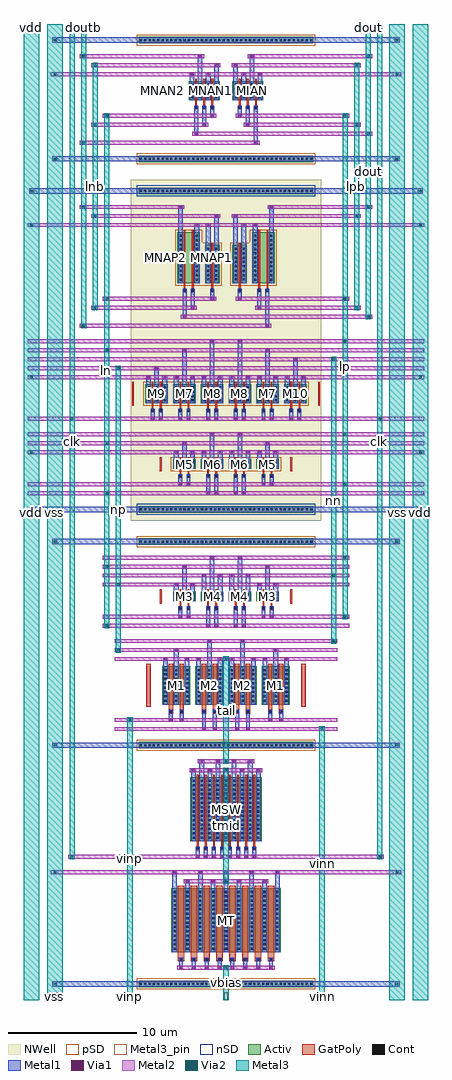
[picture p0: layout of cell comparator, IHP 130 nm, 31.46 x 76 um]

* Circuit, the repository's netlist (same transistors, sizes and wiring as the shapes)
* GENERATED by sim/comparator-pex/make_reference.py from the
* `.subckt comparator` block of design/comparator.spice -- device cards verbatim,
* header pin order changed to klt extract's order (clk dout doutb vbias vdd vinn vinp vss).
.subckt comparator clk dout doutb vbias vdd vinn vinp vss
XMT tmid vbias vss vss sg13_lv_nmos w=40u l=0.5u ng=1 m=1
XMSW tail clk tmid vss sg13_lv_nmos w=40u l=0.13u ng=1 m=1
XM1 np vinp tail vss sg13_lv_nmos w=12u l=0.34u ng=1 m=1
XM2 nn vinn tail vss sg13_lv_nmos w=12u l=0.34u ng=1 m=1
XM3 ln lp np vss sg13_lv_nmos w=3u l=0.13u ng=1 m=1
XM4 lp ln nn vss sg13_lv_nmos w=3u l=0.13u ng=1 m=1
XM5 ln lp vdd vdd sg13_lv_pmos w=3u l=0.13u ng=1 m=1
XM6 lp ln vdd vdd sg13_lv_pmos w=3u l=0.13u ng=1 m=1
XM7 ln clk vdd vdd sg13_lv_pmos w=6u l=0.13u ng=1 m=1
XM8 lp clk vdd vdd sg13_lv_pmos w=6u l=0.13u ng=1 m=1
XM9 np clk vdd vdd sg13_lv_pmos w=3u l=0.13u ng=1 m=1
XM10 nn clk vdd vdd sg13_lv_pmos w=3u l=0.13u ng=1 m=1
XMIAP lnb ln vdd vdd sg13_lv_pmos w=3u l=0.13u ng=1 m=1
XMIAN lnb ln vss vss sg13_lv_nmos w=1.5u l=0.13u ng=1 m=1
XMIBP lpb lp vdd vdd sg13_lv_pmos w=3u l=0.13u ng=1 m=1
XMIBN lpb lp vss vss sg13_lv_nmos w=1.5u l=0.13u ng=1 m=1
XMNAP1 na lnb vdd vdd sg13_lv_pmos w=4u l=0.13u ng=1 m=1
XMNAP2 doutb dout na vdd sg13_lv_pmos w=4u l=0.13u ng=1 m=1
XMNAN1 doutb lnb vss vss sg13_lv_nmos w=1.5u l=0.13u ng=1 m=1
XMNAN2 doutb dout vss vss sg13_lv_nmos w=1.5u l=0.13u ng=1 m=1
XMNBP1 nb lpb vdd vdd sg13_lv_pmos w=4u l=0.13u ng=1 m=1
XMNBP2 dout doutb nb vdd sg13_lv_pmos w=4u l=0.13u ng=1 m=1
XMNBN1 dout lpb vss vss sg13_lv_nmos w=1.5u l=0.13u ng=1 m=1
XMNBN2 dout doutb vss vss sg13_lv_nmos w=1.5u l=0.13u ng=1 m=1
.ends comparator

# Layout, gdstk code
import gdstk
lib = gdstk.Library(unit=1e-6, precision=1e-09)
def R(c, l, rs):  # rectangles x0, y0, x1, y1
    for r in rs: c.add(gdstk.rectangle(r[:2], r[2:], *l))
def A(c, l, x, y, w, h, nx, ny, dx, dy):  # array of equal rectangles
    R(c, l, [(x+i*dx, y+j*dy, x+i*dx+w, y+j*dy+h) for i in range(nx) for j in range(ny)])
Activ = (1, 0)
GatPoly = (5, 0)
Cont = (6, 0)
nSD = (7, 0)
Metal1 = (8, 0)
Metal2 = (10, 0)
pSD = (14, 0)
Via1 = (19, 0)
Via2 = (29, 0)
Metal3 = (30, 0)
Metal3_pin = (30, 2)
NWell = (31, 0)

comparator = lib.new_cell('comparator')
A(comparator, Activ, -4.96, 22, 2.18, 3, 4, 1, 2.58, 0)
A(comparator, Activ, -4.12, 30.05, 1.76, 0.75, 4, 2, 2.16, 10.3)
A(comparator, Activ, -6.28, 45.45, 1.76, 1.5, 6, 1, 2.16, 0)
R(comparator, Activ, [(-6.78,0,6.78,0.5), (-4.25,2.7,4.25,7.7), (-2.77,11.35,2.77,16.35), (-6.78,18.6,6.78,19.1), (-6.78,34.45,6.78,34.95), (-6.78,36.95,6.78,37.45), (-3.79,54.8,-2.03,58.8), (-1.63,54.8,-0.5,57.8), (0.5,54.8,1.63,57.8), (2.03,54.8,3.79,58.8), (-6.78,61.75,6.78,62.25), (-6.78,64.25,6.78,64.75), (-2.89,69.05,-0.5,70.55), (0.5,69.05,2.89,70.55), (-6.78,73.5,6.78,74)])
A(comparator, GatPoly, -3.75, 2, 0.5, 0.3, 8, 1, 1, 0)
A(comparator, GatPoly, -3.75, 2.15, 0.5, 5.73, 8, 1, 1, 0)
A(comparator, GatPoly, -2.355, 10.65, 0.3, 0.3, 8, 1, 0.63, 0)
A(comparator, GatPoly, -2.27, 10.8, 0.13, 5.73, 8, 1, 0.63, 0)
A(comparator, GatPoly, -2.475, 68.35, 0.3, 0.3, 3, 1, 0.63, 0)
A(comparator, GatPoly, 0.915, 68.35, 0.3, 0.3, 3, 1, 0.63, 0)
A(comparator, GatPoly, -2.39, 68.5, 0.13, 2.23, 3, 1, 0.63, 0)
A(comparator, GatPoly, 1, 68.5, 0.13, 2.23, 3, 1, 0.63, 0)
R(comparator, GatPoly, [(-4.46,21.3,-4.12,21.6), (-3.62,21.3,-3.28,21.6), (-1.88,21.3,-1.54,21.6), (-1.04,21.3,-0.7,21.6), (0.7,21.3,1.04,21.6), (1.54,21.3,1.88,21.6), (3.28,21.3,3.62,21.6), (4.12,21.3,4.46,21.6), (-4.46,21.45,-4.12,25.18), (-3.62,21.45,-3.28,25.18), (-1.88,21.45,-1.54,25.18), (-1.04,21.45,-0.7,25.18), (0.7,21.45,1.04,25.18), (1.54,21.45,1.88,25.18), (3.28,21.45,3.62,25.18), (4.12,21.45,4.46,25.18), (-6.2,21.82,-5.86,25.18), (5.86,21.82,6.2,25.18), (-3.705,29.35,-3.405,29.65), (-3.075,29.35,-2.775,29.65), (-1.545,29.35,-1.245,29.65), (-0.915,29.35,-0.615,29.65), (0.615,29.35,0.915,29.65), (1.245,29.35,1.545,29.65), (2.775,29.35,3.075,29.65), (3.405,29.35,3.705,29.65), (-3.62,29.5,-3.49,30.98), (-2.99,29.5,-2.86,30.98), (-1.46,29.5,-1.33,30.98), (-0.83,29.5,-0.7,30.98), (0.7,29.5,0.83,30.98), (1.33,29.5,1.46,30.98), (2.86,29.5,2.99,30.98), (3.49,29.5,3.62,30.98), (-5.15,29.87,-5.02,30.98), (5.02,29.87,5.15,30.98), (-3.705,39.65,-3.405,39.95), (-3.075,39.65,-2.775,39.95), (-1.545,39.65,-1.245,39.95), (-0.915,39.65,-0.615,39.95), (0.615,39.65,0.915,39.95), (1.245,39.65,1.545,39.95), (2.775,39.65,3.075,39.95), (3.405,39.65,3.705,39.95), (-3.62,39.8,-3.49,41.28), (-2.99,39.8,-2.86,41.28), (-1.46,39.8,-1.33,41.28), (-0.83,39.8,-0.7,41.28), (0.7,39.8,0.83,41.28), (1.33,39.8,1.46,41.28), (2.86,39.8,2.99,41.28), (3.49,39.8,3.62,41.28), (-5.15,40.17,-5.02,41.28), (5.02,40.17,5.15,41.28), (-5.865,44.75,-5.565,45.05), (-5.235,44.75,-4.935,45.05), (-3.705,44.75,-3.405,45.05), (-3.075,44.75,-2.775,45.05), (-1.545,44.75,-1.245,45.05), (-0.915,44.75,-0.615,45.05), (0.615,44.75,0.915,45.05), (1.245,44.75,1.545,45.05), (2.775,44.75,3.075,45.05), (3.405,44.75,3.705,45.05), (4.935,44.75,5.235,45.05), (5.565,44.75,5.865,45.05), (-5.78,44.9,-5.65,47.13), (-5.15,44.9,-5.02,47.13), (-3.62,44.9,-3.49,47.13), (-2.99,44.9,-2.86,47.13), (-1.46,44.9,-1.33,47.13), (-0.83,44.9,-0.7,47.13), (0.7,44.9,0.83,47.13), (1.33,44.9,1.46,47.13), (2.86,44.9,2.99,47.13), (3.49,44.9,3.62,47.13), (5.02,44.9,5.15,47.13), (5.65,44.9,5.78,47.13), (-7.31,45.27,-7.18,47.13), (7.18,45.27,7.31,47.13), (-3.375,54.1,-3.075,54.4), (-2.745,54.1,-2.445,54.4), (-1.215,54.1,-0.915,54.4), (0.915,54.1,1.215,54.4), (2.445,54.1,2.745,54.4), (3.075,54.1,3.375,54.4), (-3.29,54.25,-3.16,58.98), (-2.66,54.25,-2.53,58.98), (-1.13,54.25,-1,57.98), (1,54.25,1.13,57.98), (2.53,54.25,2.66,58.98), (3.16,54.25,3.29,58.98)])
A(comparator, Cont, -6.71, 0.17, 0.16, 0.16, 40, 2, 0.34, 18.6)
A(comparator, Cont, -3.58, 2.07, 0.16, 0.16, 8, 1, 1, 0)
A(comparator, Cont, -4.08, 2.91, 0.16, 0.16, 9, 14, 1, 0.34)
A(comparator, Cont, -2.285, 10.72, 0.16, 0.16, 8, 1, 0.63, 0)
A(comparator, Cont, -2.6, 11.56, 0.16, 0.16, 9, 14, 0.63, 0.34)
A(comparator, Cont, -4.79, 22.23, 0.16, 0.16, 3, 8, 0.84, 0.34)
A(comparator, Cont, -2.21, 22.23, 0.16, 0.16, 3, 8, 0.84, 0.34)
A(comparator, Cont, 0.37, 22.23, 0.16, 0.16, 3, 8, 0.84, 0.34)
A(comparator, Cont, 2.95, 22.23, 0.16, 0.16, 3, 8, 0.84, 0.34)
A(comparator, Cont, -3.95, 30.175, 0.16, 0.16, 3, 2, 0.63, 0.34)
A(comparator, Cont, -1.79, 30.175, 0.16, 0.16, 3, 2, 0.63, 0.34)
A(comparator, Cont, 0.37, 30.175, 0.16, 0.16, 3, 2, 0.63, 0.34)
A(comparator, Cont, 2.53, 30.175, 0.16, 0.16, 3, 2, 0.63, 0.34)
A(comparator, Cont, -6.71, 34.62, 0.16, 0.16, 40, 2, 0.34, 2.5)
A(comparator, Cont, -3.95, 40.475, 0.16, 0.16, 3, 2, 0.63, 0.34)
A(comparator, Cont, -1.79, 40.475, 0.16, 0.16, 3, 2, 0.63, 0.34)
A(comparator, Cont, 0.37, 40.475, 0.16, 0.16, 3, 2, 0.63, 0.34)
A(comparator, Cont, 2.53, 40.475, 0.16, 0.16, 3, 2, 0.63, 0.34)
A(comparator, Cont, -6.11, 45.61, 0.16, 0.16, 3, 4, 0.63, 0.34)
A(comparator, Cont, -3.95, 45.61, 0.16, 0.16, 3, 4, 0.63, 0.34)
A(comparator, Cont, -1.79, 45.61, 0.16, 0.16, 3, 4, 0.63, 0.34)
A(comparator, Cont, 0.37, 45.61, 0.16, 0.16, 3, 4, 0.63, 0.34)
A(comparator, Cont, 2.53, 45.61, 0.16, 0.16, 3, 4, 0.63, 0.34)
A(comparator, Cont, 4.69, 45.61, 0.16, 0.16, 3, 4, 0.63, 0.34)
A(comparator, Cont, -3.62, 55.02, 0.16, 0.16, 1, 11, 0, 0.34)
A(comparator, Cont, -2.36, 55.02, 0.16, 0.16, 1, 11, 0, 0.34)
A(comparator, Cont, 2.2, 55.02, 0.16, 0.16, 1, 11, 0, 0.34)
A(comparator, Cont, 3.46, 55.02, 0.16, 0.16, 1, 11, 0, 0.34)
A(comparator, Cont, -1.46, 55.03, 0.16, 0.16, 1, 8, 0, 0.34)
A(comparator, Cont, -0.83, 55.03, 0.16, 0.16, 1, 8, 0, 0.34)
A(comparator, Cont, 0.67, 55.03, 0.16, 0.16, 1, 8, 0, 0.34)
A(comparator, Cont, 1.3, 55.03, 0.16, 0.16, 1, 8, 0, 0.34)
A(comparator, Cont, -6.71, 61.92, 0.16, 0.16, 40, 2, 0.34, 2.5)
A(comparator, Cont, -2.405, 68.42, 0.16, 0.16, 3, 1, 0.63, 0)
A(comparator, Cont, 0.985, 68.42, 0.16, 0.16, 3, 1, 0.63, 0)
A(comparator, Cont, -2.72, 69.21, 0.16, 0.16, 4, 4, 0.63, 0.34)
A(comparator, Cont, 0.67, 69.21, 0.16, 0.16, 4, 4, 0.63, 0.34)
A(comparator, Cont, -6.71, 73.67, 0.16, 0.16, 40, 1, 0.34, 0)
R(comparator, Cont, [(-4.37,21.37,-4.21,21.53), (-3.53,21.37,-3.37,21.53), (-1.79,21.37,-1.63,21.53), (-0.95,21.37,-0.79,21.53), (0.79,21.37,0.95,21.53), (1.63,21.37,1.79,21.53), (3.37,21.37,3.53,21.53), (4.21,21.37,4.37,21.53), (-3.635,29.42,-3.475,29.58), (-3.005,29.42,-2.845,29.58), (-1.475,29.42,-1.315,29.58), (-0.845,29.42,-0.685,29.58), (0.685,29.42,0.845,29.58), (1.315,29.42,1.475,29.58), (2.845,29.42,3.005,29.58), (3.475,29.42,3.635,29.58), (-3.635,39.72,-3.475,39.88), (-3.005,39.72,-2.845,39.88), (-1.475,39.72,-1.315,39.88), (-0.845,39.72,-0.685,39.88), (0.685,39.72,0.845,39.88), (1.315,39.72,1.475,39.88), (2.845,39.72,3.005,39.88), (3.475,39.72,3.635,39.88), (-5.795,44.82,-5.635,44.98), (-5.165,44.82,-5.005,44.98), (-3.635,44.82,-3.475,44.98), (-3.005,44.82,-2.845,44.98), (-1.475,44.82,-1.315,44.98), (-0.845,44.82,-0.685,44.98), (0.685,44.82,0.845,44.98), (1.315,44.82,1.475,44.98), (2.845,44.82,3.005,44.98), (3.475,44.82,3.635,44.98), (5.005,44.82,5.165,44.98), (5.635,44.82,5.795,44.98), (-3.305,54.17,-3.145,54.33), (-2.675,54.17,-2.515,54.33), (-1.145,54.17,-0.985,54.33), (0.985,54.17,1.145,54.33), (2.515,54.17,2.675,54.33), (3.145,54.17,3.305,54.33)])
R(comparator, nSD, [(-6.96,36.77,6.96,37.63), (-6.96,61.57,6.96,62.43)])
A(comparator, Metal1, -3.65, 1.35, 0.3, 0.95, 8, 1, 1, 0)
A(comparator, Metal1, -4.18, 2.7, 0.36, 6.4, 5, 1, 2, 0)
A(comparator, Metal1, -3.18, 2.7, 0.36, 5.7, 4, 1, 2, 0)
A(comparator, Metal1, -2.355, 10, 0.3, 0.95, 8, 1, 0.63, 0)
A(comparator, Metal1, -2.7, 11.35, 0.36, 5.7, 5, 1, 1.26, 0)
A(comparator, Metal1, -2.07, 11.35, 0.36, 6.4, 4, 1, 1.26, 0)
R(comparator, Metal1, [(-13.53,0.05,13.53,0.45), (-13.53,0.05,-13.13,0.45), (13.13,0.05,13.53,0.45), (-13.53,18.65,13.53,19.05), (-13.53,18.65,-13.13,19.05), (13.13,18.65,13.53,19.05), (-1.86,19.95,-1.56,21.6), (-1.02,19.95,-0.72,21.6), (0.72,19.95,1.02,21.6), (1.56,19.95,1.86,21.6), (-4.44,20.65,-4.14,21.6), (-3.6,20.65,-3.3,21.6), (3.3,20.65,3.6,21.6), (4.14,20.65,4.44,21.6), (-4.89,22,-4.53,25.7), (-4.05,22,-3.69,26.4), (-3.21,22,-2.85,25.7), (-2.31,22,-1.95,25.7), (-1.47,22,-1.11,27.1), (-0.63,22,-0.27,25.7), (0.27,22,0.63,25.7), (1.11,22,1.47,27.1), (1.95,22,2.31,25.7), (2.85,22,3.21,25.7), (3.69,22,4.05,26.4), (4.53,22,4.89,25.7), (-1.545,28,-1.245,29.65), (-0.915,28,-0.615,29.65), (0.615,28,0.915,29.65), (1.245,28,1.545,29.65), (-3.705,28.7,-3.405,29.65), (-3.075,28.7,-2.775,29.65), (2.775,28.7,3.075,29.65), (3.405,28.7,3.705,29.65), (-4.05,30.05,-3.69,31.5), (-3.42,30.05,-3.06,32.9), (-2.79,30.05,-2.43,31.5), (-1.89,30.05,-1.53,32.2), (-1.26,30.05,-0.9,33.6), (-0.63,30.05,-0.27,32.2), (0.27,30.05,0.63,32.2), (0.9,30.05,1.26,33.6), (1.53,30.05,1.89,32.2), (2.43,30.05,2.79,31.5), (3.06,30.05,3.42,32.9), (3.69,30.05,4.05,31.5), (-13.53,34.5,13.53,34.9), (-13.53,34.5,-13.13,34.9), (13.13,34.5,13.53,34.9), (-15.33,37,15.33,37.4), (-15.33,37,-14.93,37.4), (14.93,37,15.33,37.4), (-1.545,38.3,-1.245,39.95), (-0.915,38.3,-0.615,39.95), (0.615,38.3,0.915,39.95), (1.245,38.3,1.545,39.95), (-3.705,39,-3.405,39.95), (-3.075,39,-2.775,39.95), (2.775,39,3.075,39.95), (3.405,39,3.705,39.95), (-4.05,40.35,-3.69,41.8), (-3.42,40.35,-3.06,42.5), (-2.79,40.35,-2.43,41.8), (-1.89,40.35,-1.53,41.8), (-1.26,40.35,-0.9,43.2), (-0.63,40.35,-0.27,41.8), (0.27,40.35,0.63,41.8), (0.9,40.35,1.26,43.2), (1.53,40.35,1.89,41.8), (2.43,40.35,2.79,41.8), (3.06,40.35,3.42,42.5), (3.69,40.35,4.05,41.8), (-5.865,44.1,-5.565,45.05), (-5.235,44.1,-4.935,45.05), (-3.705,44.1,-3.405,45.05), (-3.075,44.1,-2.775,45.05), (-1.545,44.1,-1.245,45.05), (-0.915,44.1,-0.615,45.05), (0.615,44.1,0.915,45.05), (1.245,44.1,1.545,45.05), (2.775,44.1,3.075,45.05), (3.405,44.1,3.705,45.05), (4.935,44.1,5.235,45.05), (5.565,44.1,5.865,45.05), (-6.21,45.45,-5.85,47.65), (-5.58,45.45,-5.22,48.35), (-4.95,45.45,-4.59,47.65), (-4.05,45.45,-3.69,47.65), (-3.42,45.45,-3.06,49.75), (-2.79,45.45,-2.43,47.65), (-1.89,45.45,-1.53,47.65), (-1.26,45.45,-0.9,50.45), (-0.63,45.45,-0.27,47.65), (0.27,45.45,0.63,47.65), (0.9,45.45,1.26,50.45), (1.53,45.45,1.89,47.65), (2.43,45.45,2.79,47.65), (3.06,45.45,3.42,49.75), (3.69,45.45,4.05,47.65), (4.59,45.45,4.95,47.65), (5.22,45.45,5.58,49.05), (5.85,45.45,6.21,47.65), (3.075,51.35,3.375,54.4), (-3.375,52.05,-3.075,54.4), (-2.745,52.75,-2.445,54.4), (2.445,52.75,2.745,54.4), (-1.215,53.45,-0.915,54.4), (0.915,53.45,1.215,54.4), (-3.72,54.8,-3.36,60.9), (-2.46,54.8,-2.1,59.5), (-1.56,54.8,-1.2,59.5), (-0.93,54.8,-0.57,60.2), (0.57,54.8,0.93,60.2), (1.2,54.8,1.56,59.5), (2.1,54.8,2.46,59.5), (3.36,54.8,3.72,60.9), (-15.33,61.8,15.33,62.2), (-15.33,61.8,-14.93,62.2), (14.93,61.8,15.33,62.2), (-13.53,64.3,13.53,64.7), (-13.53,64.3,-13.13,64.7), (13.13,64.3,13.53,64.7), (2.175,65.6,2.475,68.65), (-2.475,66.3,-2.175,68.65), (-1.845,67,-1.545,68.65), (1.545,67,1.845,68.65), (-1.215,67.7,-0.915,68.65), (0.915,67.7,1.215,68.65), (-2.82,69.05,-2.46,71.25), (-2.19,69.05,-1.83,72.65), (-1.56,69.05,-1.2,71.25), (-0.93,69.05,-0.57,71.95), (0.57,69.05,0.93,71.95), (1.2,69.05,1.56,71.25), (1.83,69.05,2.19,72.65), (2.46,69.05,2.82,71.25), (-13.53,73.55,13.53,73.95), (-13.53,73.55,-13.13,73.95), (13.13,73.55,13.53,73.95)])
A(comparator, Metal2, -8.68, 25.4, 17.36, 0.3, 1, 3, 0, 0.7)
A(comparator, Metal2, -9.58, 31.2, 19.16, 0.3, 1, 4, 0, 0.7)
A(comparator, Metal2, -15.43, 41.5, 30.86, 0.3, 1, 3, 0, 0.7)
A(comparator, Metal2, -15.43, 47.35, 30.86, 0.3, 1, 5, 0, 0.7)
R(comparator, Metal2, [(-13.53,0.05,-13.13,0.45), (13.13,0.05,13.53,0.45), (-3.8,1.35,3.8,1.65), (-3.3,8.1,3.3,8.4), (-13.63,8.8,13.63,9.1), (-12.28,10,12.28,10.3), (-2.82,16.75,2.82,17.05), (-2.19,17.45,2.19,17.75), (-13.53,18.65,-13.13,19.05), (13.13,18.65,13.53,19.05), (-8.68,19.95,8.68,20.25), (-8.68,20.65,8.68,20.95), (-9.58,28,9.58,28.3), (-9.58,28.7,9.58,29), (-13.53,34.5,-13.13,34.9), (13.13,34.5,13.53,34.9), (-15.33,37,-14.93,37.4), (14.93,37,15.33,37.4), (-15.43,38.3,15.43,38.6), (-15.43,39,15.43,39.3), (-15.43,44.1,15.43,44.4), (-11.38,51.35,3.525,51.65), (-3.525,52.05,11.38,52.35), (-10.48,52.75,-2.295,53.05), (2.295,52.75,10.48,53.05), (-9.58,53.45,-0.765,53.75), (0.765,53.45,9.58,53.75), (-15.43,59.2,15.43,59.5), (-10.48,59.9,-0.45,60.2), (0.45,59.9,10.48,60.2), (-11.38,60.6,-3.24,60.9), (3.24,60.6,11.38,60.9), (-15.33,61.8,-14.93,62.2), (14.93,61.8,15.33,62.2), (-13.53,64.3,-13.13,64.7), (13.13,64.3,13.53,64.7), (-11.38,65.6,2.625,65.9), (-2.625,66.3,11.38,66.6), (-10.48,67,-1.395,67.3), (1.395,67,10.48,67.3), (-9.58,67.7,-0.765,68), (0.765,67.7,9.58,68), (-13.63,70.95,13.63,71.25), (-10.48,71.65,-0.45,71.95), (0.45,71.65,10.48,71.95), (-11.38,72.35,-1.71,72.65), (1.71,72.35,11.38,72.65), (-13.53,73.55,-13.13,73.95), (13.13,73.55,13.53,73.95)])
A(comparator, pSD, -4.3, 40.17, 2.12, 1.11, 4, 1, 2.16, 0)
A(comparator, pSD, -6.46, 45.27, 2.12, 1.86, 6, 1, 2.16, 0)
R(comparator, pSD, [(-6.96,-0.18,6.96,0.68), (-6.96,18.42,6.96,19.28), (-6.96,34.27,6.96,35.13), (-3.97,54.62,-1.85,58.98), (-1.81,54.62,-0.32,57.98), (0.32,54.62,1.81,57.98), (1.85,54.62,3.97,58.98), (-6.96,64.07,6.96,64.93), (-6.96,73.32,6.96,74.18)])
A(comparator, Via1, -3.595, 1.405, 0.19, 0.19, 8, 1, 1, 0)
A(comparator, Via1, -3.095, 8.155, 0.19, 0.19, 4, 1, 2, 0)
A(comparator, Via1, -4.095, 8.855, 0.19, 0.19, 5, 1, 2, 0)
A(comparator, Via1, -2.3, 10.055, 0.19, 0.19, 8, 1, 0.63, 0)
A(comparator, Via1, -2.615, 16.805, 0.19, 0.19, 5, 1, 1.26, 0)
A(comparator, Via1, -1.985, 17.505, 0.19, 0.19, 4, 1, 1.26, 0)
R(comparator, Via1, [(-13.425,0.155,-13.235,0.345), (13.235,0.155,13.425,0.345), (-13.425,18.755,-13.235,18.945), (13.235,18.755,13.425,18.945), (-1.805,20.005,-1.615,20.195), (-0.965,20.005,-0.775,20.195), (0.775,20.005,0.965,20.195), (1.615,20.005,1.805,20.195), (-4.385,20.705,-4.195,20.895), (-3.545,20.705,-3.355,20.895), (3.355,20.705,3.545,20.895), (4.195,20.705,4.385,20.895), (-4.805,25.455,-4.615,25.645), (-3.125,25.455,-2.935,25.645), (-2.225,25.455,-2.035,25.645), (-0.545,25.455,-0.355,25.645), (0.355,25.455,0.545,25.645), (2.035,25.455,2.225,25.645), (2.935,25.455,3.125,25.645), (4.615,25.455,4.805,25.645), (-3.965,26.155,-3.775,26.345), (3.775,26.155,3.965,26.345), (-1.385,26.855,-1.195,27.045), (1.195,26.855,1.385,27.045), (-1.49,28.055,-1.3,28.245), (-0.86,28.055,-0.67,28.245), (0.67,28.055,0.86,28.245), (1.3,28.055,1.49,28.245), (-3.65,28.755,-3.46,28.945), (-3.02,28.755,-2.83,28.945), (2.83,28.755,3.02,28.945), (3.46,28.755,3.65,28.945), (-3.965,31.255,-3.775,31.445), (-2.705,31.255,-2.515,31.445), (2.515,31.255,2.705,31.445), (3.775,31.255,3.965,31.445), (-1.805,31.955,-1.615,32.145), (-0.545,31.955,-0.355,32.145), (0.355,31.955,0.545,32.145), (1.615,31.955,1.805,32.145), (-3.335,32.655,-3.145,32.845), (3.145,32.655,3.335,32.845), (-1.175,33.355,-0.985,33.545), (0.985,33.355,1.175,33.545), (-13.425,34.605,-13.235,34.795), (13.235,34.605,13.425,34.795), (-15.225,37.105,-15.035,37.295), (15.035,37.105,15.225,37.295), (-1.49,38.355,-1.3,38.545), (-0.86,38.355,-0.67,38.545), (0.67,38.355,0.86,38.545), (1.3,38.355,1.49,38.545), (-3.65,39.055,-3.46,39.245), (-3.02,39.055,-2.83,39.245), (2.83,39.055,3.02,39.245), (3.46,39.055,3.65,39.245), (-3.965,41.555,-3.775,41.745), (-2.705,41.555,-2.515,41.745), (-1.805,41.555,-1.615,41.745), (-0.545,41.555,-0.355,41.745), (0.355,41.555,0.545,41.745), (1.615,41.555,1.805,41.745), (2.515,41.555,2.705,41.745), (3.775,41.555,3.965,41.745), (-3.335,42.255,-3.145,42.445), (3.145,42.255,3.335,42.445), (-1.175,42.955,-0.985,43.145), (0.985,42.955,1.175,43.145), (-5.81,44.155,-5.62,44.345), (-5.18,44.155,-4.99,44.345), (-3.65,44.155,-3.46,44.345), (-3.02,44.155,-2.83,44.345), (-1.49,44.155,-1.3,44.345), (-0.86,44.155,-0.67,44.345), (0.67,44.155,0.86,44.345), (1.3,44.155,1.49,44.345), (2.83,44.155,3.02,44.345), (3.46,44.155,3.65,44.345), (4.99,44.155,5.18,44.345), (5.62,44.155,5.81,44.345), (-6.125,47.405,-5.935,47.595), (-4.865,47.405,-4.675,47.595), (-3.965,47.405,-3.775,47.595), (-2.705,47.405,-2.515,47.595), (-1.805,47.405,-1.615,47.595), (-0.545,47.405,-0.355,47.595), (0.355,47.405,0.545,47.595), (1.615,47.405,1.805,47.595), (2.515,47.405,2.705,47.595), (3.775,47.405,3.965,47.595), (4.675,47.405,4.865,47.595), (5.935,47.405,6.125,47.595), (-5.495,48.105,-5.305,48.295), (5.305,48.805,5.495,48.995), (-3.335,49.505,-3.145,49.695), (3.145,49.505,3.335,49.695), (-1.175,50.205,-0.985,50.395), (0.985,50.205,1.175,50.395), (3.13,51.405,3.32,51.595), (-3.32,52.105,-3.13,52.295), (-2.69,52.805,-2.5,52.995), (2.5,52.805,2.69,52.995), (-1.16,53.505,-0.97,53.695), (0.97,53.505,1.16,53.695), (-2.375,59.255,-2.185,59.445), (-1.475,59.255,-1.285,59.445), (1.285,59.255,1.475,59.445), (2.185,59.255,2.375,59.445), (-0.845,59.955,-0.655,60.145), (0.655,59.955,0.845,60.145), (-3.635,60.655,-3.445,60.845), (3.445,60.655,3.635,60.845), (-15.225,61.905,-15.035,62.095), (15.035,61.905,15.225,62.095), (-13.425,64.405,-13.235,64.595), (13.235,64.405,13.425,64.595), (2.23,65.655,2.42,65.845), (-2.42,66.355,-2.23,66.545), (-1.79,67.055,-1.6,67.245), (1.6,67.055,1.79,67.245), (-1.16,67.755,-0.97,67.945), (0.97,67.755,1.16,67.945), (-2.735,71.005,-2.545,71.195), (-1.475,71.005,-1.285,71.195), (1.285,71.005,1.475,71.195), (2.545,71.005,2.735,71.195), (-0.845,71.705,-0.655,71.895), (0.655,71.705,0.845,71.895), (-2.105,72.405,-1.915,72.595), (1.915,72.405,2.105,72.595), (-13.425,73.655,-13.235,73.845), (13.235,73.655,13.425,73.845)])
R(comparator, Via2, [(-13.425,0.155,-13.235,0.345), (13.235,0.155,13.425,0.345), (-0.095,1.405,0.095,1.595), (-0.095,8.155,0.095,8.345), (-13.425,8.855,-13.235,9.045), (13.235,8.855,13.425,9.045), (-12.075,10.055,-11.885,10.245), (11.885,10.055,12.075,10.245), (-0.095,16.805,0.095,16.995), (-0.095,17.505,0.095,17.695), (-13.425,18.755,-13.235,18.945), (13.235,18.755,13.425,18.945), (7.385,20.005,7.575,20.195), (-7.575,20.705,-7.385,20.895), (-0.095,25.455,0.095,25.645), (-8.475,26.155,-8.285,26.345), (8.285,26.855,8.475,27.045), (-9.375,28.055,-9.185,28.245), (9.185,28.755,9.375,28.945), (-8.475,31.255,-8.285,31.445), (8.285,31.955,8.475,32.145), (-9.375,32.655,-9.185,32.845), (9.185,33.355,9.375,33.545), (-13.425,34.605,-13.235,34.795), (13.235,34.605,13.425,34.795), (-15.225,37.105,-15.035,37.295), (15.035,37.105,15.225,37.295), (-9.375,38.355,-9.185,38.545), (9.185,39.055,9.375,39.245), (-15.225,41.555,-15.035,41.745), (15.035,41.555,15.225,41.745), (-9.375,42.255,-9.185,42.445), (9.185,42.955,9.375,43.145), (-12.075,44.155,-11.885,44.345), (11.885,44.155,12.075,44.345), (-15.225,47.405,-15.035,47.595), (15.035,47.405,15.225,47.595), (-8.475,48.105,-8.285,48.295), (8.285,48.805,8.475,48.995), (-9.375,49.505,-9.185,49.695), (9.185,50.205,9.375,50.395), (-11.175,51.405,-10.985,51.595), (10.985,52.105,11.175,52.295), (-10.275,52.805,-10.085,52.995), (10.085,52.805,10.275,52.995), (-9.375,53.505,-9.185,53.695), (9.185,53.505,9.375,53.695), (-15.225,59.255,-15.035,59.445), (15.035,59.255,15.225,59.445), (-10.275,59.955,-10.085,60.145), (10.085,59.955,10.275,60.145), (-11.175,60.655,-10.985,60.845), (10.985,60.655,11.175,60.845), (-15.225,61.905,-15.035,62.095), (15.035,61.905,15.225,62.095), (-13.425,64.405,-13.235,64.595), (13.235,64.405,13.425,64.595), (-11.175,65.655,-10.985,65.845), (10.985,66.355,11.175,66.545), (-10.275,67.055,-10.085,67.245), (10.085,67.055,10.275,67.245), (-9.375,67.755,-9.185,67.945), (9.185,67.755,9.375,67.945), (-13.425,71.005,-13.235,71.195), (13.235,71.005,13.425,71.195), (-10.275,71.705,-10.085,71.895), (10.085,71.705,10.275,71.895), (-11.175,72.405,-10.985,72.595), (10.985,72.405,11.175,72.595), (-13.425,73.655,-13.235,73.845), (13.235,73.655,13.425,73.845)])
R(comparator, Metal3, [(-15.73,-1,-14.53,75), (-13.93,-1,-12.73,75), (-7.68,-1,-7.28,21), (-0.2,-1,0.2,1.7), (7.28,-1,7.68,20.3), (12.73,-1,13.93,75), (14.53,-1,15.73,75), (-0.2,8.05,0.2,17.1), (-12.18,9.95,-11.78,75), (11.78,9.95,12.18,75), (-0.2,17.4,0.2,25.75), (-8.58,26.05,-8.18,48.4), (8.18,26.75,8.58,49.1), (-9.48,27.95,-9.08,68.05), (9.08,28.65,9.48,68.05), (-11.28,51.3,-10.88,75), (10.88,52,11.28,75), (-10.38,52.7,-9.98,72), (9.98,52.7,10.38,72)])
A(comparator, Metal3_pin, -7.63, -1, 0.3, 0.6, 3, 1, 7.48, 0)
R(comparator, Metal3_pin, [(-13.88,-1,-12.78,-0.4), (-15.68,74.4,-14.58,75), (-12.13,74.4,-11.83,75), (-11.23,74.4,-10.93,75), (10.93,74.4,11.23,75)])
R(comparator, NWell, [(-7.4,36.33,7.4,62.87)])
comparator.add(gdstk.Label('vbias', (0,0.35), layer=30, texttype=25))
comparator.add(gdstk.Label('vbias', (0,-0.7), layer=30, texttype=25))
comparator.add(gdstk.Label('tmid', (0,12.575), layer=30, texttype=25))
comparator.add(gdstk.Label('tail', (0,21.575), layer=30, texttype=25))
comparator.add(gdstk.Label('vinp', (-7.48,10), layer=30, texttype=25))
comparator.add(gdstk.Label('vinp', (-7.48,-0.7), layer=30, texttype=25))
comparator.add(gdstk.Label('vinn', (7.48,9.65), layer=30, texttype=25))
comparator.add(gdstk.Label('vinn', (7.48,-0.7), layer=30, texttype=25))
comparator.add(gdstk.Label('np', (-8.38,37.225), layer=30, texttype=25))
comparator.add(gdstk.Label('nn', (8.38,37.925), layer=30, texttype=25))
comparator.add(gdstk.Label('ln', (-9.28,48), layer=30, texttype=25))
comparator.add(gdstk.Label('lp', (9.28,48.35), layer=30, texttype=25))
comparator.add(gdstk.Label('lnb', (-10.18,62.35), layer=30, texttype=25))
comparator.add(gdstk.Label('lpb', (10.18,62.35), layer=30, texttype=25))
comparator.add(gdstk.Label('doutb', (-11.08,63.15), layer=30, texttype=25))
comparator.add(gdstk.Label('doutb', (-11.08,74.7), layer=30, texttype=25))
comparator.add(gdstk.Label('dout', (11.08,63.5), layer=30, texttype=25))
comparator.add(gdstk.Label('dout', (11.08,74.7), layer=30, texttype=25))
comparator.add(gdstk.Label('clk', (-11.98,42.475), layer=30, texttype=25))
comparator.add(gdstk.Label('clk', (-11.98,74.7), layer=30, texttype=25))
comparator.add(gdstk.Label('clk', (11.98,42.475), layer=30, texttype=25))
comparator.add(gdstk.Label('vss', (-13.33,37), layer=30, texttype=25))
comparator.add(gdstk.Label('vss', (-13.33,-0.7), layer=30, texttype=25))
comparator.add(gdstk.Label('vss', (13.33,37), layer=30, texttype=25))
comparator.add(gdstk.Label('vdd', (-15.13,37), layer=30, texttype=25))
comparator.add(gdstk.Label('vdd', (-15.13,74.7), layer=30, texttype=25))
comparator.add(gdstk.Label('vdd', (15.13,37), layer=30, texttype=25))
comparator.add(gdstk.Label('MT', (0,5.2), layer=63, texttype=0))
comparator.add(gdstk.Label('MSW', (0,13.85), layer=63, texttype=0))
comparator.add(gdstk.Label('M1', (-3.87,23.5), layer=63, texttype=0))
comparator.add(gdstk.Label('M2', (-1.29,23.5), layer=63, texttype=0))
comparator.add(gdstk.Label('M2', (1.29,23.5), layer=63, texttype=0))
comparator.add(gdstk.Label('M1', (3.87,23.5), layer=63, texttype=0))
comparator.add(gdstk.Label('M3', (-3.24,30.425), layer=63, texttype=0))
comparator.add(gdstk.Label('M4', (-1.08,30.425), layer=63, texttype=0))
comparator.add(gdstk.Label('M4', (1.08,30.425), layer=63, texttype=0))
comparator.add(gdstk.Label('M3', (3.24,30.425), layer=63, texttype=0))
comparator.add(gdstk.Label('M5', (-3.24,40.725), layer=63, texttype=0))
comparator.add(gdstk.Label('M6', (-1.08,40.725), layer=63, texttype=0))
comparator.add(gdstk.Label('M6', (1.08,40.725), layer=63, texttype=0))
comparator.add(gdstk.Label('M5', (3.24,40.725), layer=63, texttype=0))
comparator.add(gdstk.Label('M9', (-5.4,46.2), layer=63, texttype=0))
comparator.add(gdstk.Label('M7', (-3.24,46.2), layer=63, texttype=0))
comparator.add(gdstk.Label('M8', (-1.08,46.2), layer=63, texttype=0))
comparator.add(gdstk.Label('M8', (1.08,46.2), layer=63, texttype=0))
comparator.add(gdstk.Label('M7', (3.24,46.2), layer=63, texttype=0))
comparator.add(gdstk.Label('M10', (5.4,46.2), layer=63, texttype=0))
comparator.add(gdstk.Label('MNAP2 MNAP1', (-2.91,56.8), layer=63, texttype=0))
comparator.add(gdstk.Label('MIAP', (-1.065,56.3), layer=63, texttype=0))
comparator.add(gdstk.Label('MIBP', (1.065,56.3), layer=63, texttype=0))
comparator.add(gdstk.Label('MNBP1 MNBP2', (2.91,56.8), layer=63, texttype=0))
comparator.add(gdstk.Label('MNAN2 MNAN1 MIAN', (-1.695,69.8), layer=63, texttype=0))
comparator.add(gdstk.Label('MIBN MNBN1 MNBN2', (1.695,69.8), layer=63, texttype=0))

lib.write_gds('comparator.gds')
